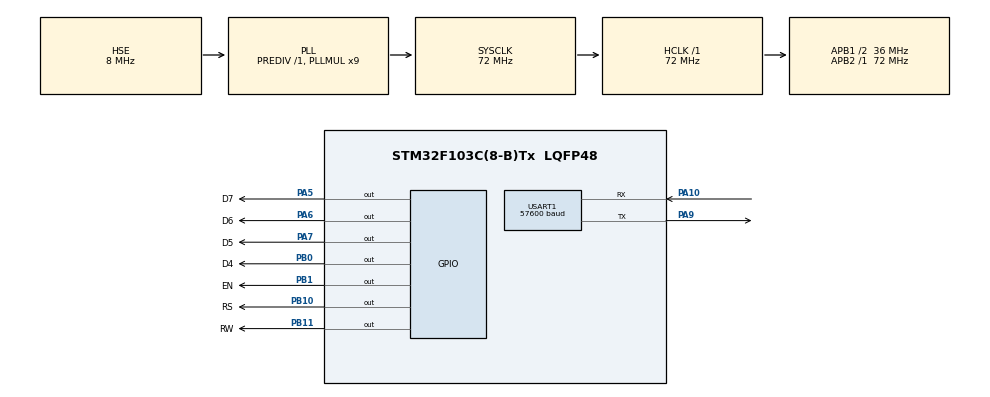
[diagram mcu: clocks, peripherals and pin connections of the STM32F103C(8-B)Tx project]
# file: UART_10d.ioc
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Mcu.Family=STM32F1
Mcu.Name=STM32F103C(8-B)Tx
Mcu.Package=LQFP48
NVIC.PriorityGroup=NVIC_PRIORITYGROUP_4
NVIC.USART1_IRQn=true\:0\:0\:false\:false\:true\:true\:true\:true
PA10.Mode=Asynchronous
PA10.Signal=USART1_RX
PA13.Mode=Serial_Wire
PA13.Signal=SYS_JTMS-SWDIO
PA14.Mode=Serial_Wire
PA14.Signal=SYS_JTCK-SWCLK
PA5.GPIO_Label=D7
PA5.Signal=GPIO_Output
PA6.GPIO_Label=D6
PA6.Signal=GPIO_Output
PA7.GPIO_Label=D5
PA7.Signal=GPIO_Output
PA9.Mode=Asynchronous
PA9.Signal=USART1_TX
PB0.GPIO_Label=D4
PB0.Signal=GPIO_Output
PB1.GPIO_Label=EN
PB1.Signal=GPIO_Output
PB10.GPIO_Label=RS
PB10.Signal=GPIO_Output
PB11.GPIO_Label=RW
PB11.Signal=GPIO_Output
PD0-OSC_IN.Mode=HSE-External-Oscillator
PD0-OSC_IN.Signal=RCC_OSC_IN
PD1-OSC_OUT.Mode=HSE-External-Oscillator
PD1-OSC_OUT.Signal=RCC_OSC_OUT
ProjectManager.HeapSize=0x200
ProjectManager.StackSize=0x400
ProjectManager.TargetToolchain=MDK-ARM V5.32
RCC.AHBFreq_Value=72000000
RCC.APB1CLKDivider=RCC_HCLK_DIV2
RCC.APB1Freq_Value=36000000
RCC.APB1TimFreq_Value=72000000
RCC.APB2Freq_Value=72000000
RCC.APB2TimFreq_Value=72000000
RCC.HCLKFreq_Value=72000000
RCC.PLLMUL=RCC_PLL_MUL9
RCC.PLLSourceVirtual=RCC_PLLSOURCE_HSE
RCC.SYSCLKFreq_VALUE=72000000
RCC.SYSCLKSource=RCC_SYSCLKSOURCE_PLLCLK
RCC.USBFreq_Value=72000000
USART1.BaudRate=57600
USART1.VirtualMode=VM_ASYNC
board=custom

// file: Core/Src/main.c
/* USER CODE BEGIN Header */
/**
  ******************************************************************************
  * @file           : main.c
  * @brief          : Main program body
  ******************************************************************************
  * @attention
  *
  * Copyright (c) 2022 STMicroelectronics.
  * All rights reserved.
  *
  * This software is licensed under terms that can be found in the LICENSE file
  * in the root directory of this software component.
  * If no LICENSE file comes with this software, it is provided AS-IS.
  *
  ******************************************************************************
  */
/* USER CODE END Header */
#include "main.h"

/* USER CODE BEGIN Includes */
#include "string.h"
/* USER CODE END Includes */

 UART_HandleTypeDef huart1;

/* USER CODE BEGIN PV */
uint8_t OK[2] = {"OK"};
uint8_t Er[5] = {"ERROR"};
uint8_t ptu = 0;
uint8_t data_receive[1];
uint8_t data_copy[20];
uint8_t dem = 0;
void lcd_busy(void);
/* USER CODE END PV */

void SystemClock_Config(void);
static void MX_GPIO_Init(void);
static void MX_USART1_UART_Init(void);

/* USER CODE BEGIN 0 */
void write_to_lcd_4bits(uint8_t rs, uint8_t data)
{
	HAL_GPIO_WritePin(RS_GPIO_Port, RS_Pin, rs);
	HAL_GPIO_WritePin(RW_GPIO_Port, RW_Pin, 0);
	HAL_GPIO_WritePin(EN_GPIO_Port, EN_Pin, 1);

	HAL_GPIO_WritePin(D7_GPIO_Port, D7_Pin, ((data>>3)&0x01));
	HAL_GPIO_WritePin(D6_GPIO_Port, D6_Pin, ((data>>2)&0x01));
	HAL_GPIO_WritePin(D5_GPIO_Port, D5_Pin, ((data>>1)&0x01));
	HAL_GPIO_WritePin(D4_GPIO_Port, D4_Pin, ((data>>0)&0x01));

	for(int i = 0; i < 72; i++)
	{
		__asm("NOP");
	}

	HAL_GPIO_WritePin(EN_GPIO_Port, EN_Pin, 0);
	lcd_busy();
}

void send_command(uint8_t data)
{
	write_to_lcd_4bits(0, (data>>4)&0x0f);
	write_to_lcd_4bits (0, (data>>0)&0x0f);
}

void display_lcd(uint8_t data)
{
	write_to_lcd_4bits(1, (data>>4)&0x0f);
	write_to_lcd_4bits (1, (data>>0)&0x0f);
}

void display_text(char *data)
{
	uint8_t j;
	for(j=0; j<strlen(data); j++)
	{
		display_lcd(data[j]);
	}
}

void  lcd_clear()
{
	send_command(0x01);
	lcd_busy();
}

void set_cursor(uint8_t row, uint8_t col)
{
	uint8_t temp;
	switch(row)
	{
		case 0:
			temp = col|0x80;
		  break;
		case 1:
			temp = col|0xC0;
		  break;
		default:
			temp = col|0x80;
	}
	send_command(temp);
}

void lcd_config()
{
	send_command(0x28); //LCD 4bit, 2-line, 5x8 hieu 2
	lcd_busy();
	send_command(0x28); //LCD 4bit, 2-line, 5x8 hieu 8
	lcd_busy();
	send_command(0x0f);
	lcd_busy();
	send_command(0x06);
	lcd_busy();
	send_command(0x01);
	lcd_busy();
}

void lcd_busy(void)
{
	uint8_t busy_flag_copy;
	GPIO_InitTypeDef GPIO_InitStruct = {0};
	GPIO_InitStruct.Pin = GPIO_PIN_5;
  GPIO_InitStruct.Mode = GPIO_MODE_INPUT;
  GPIO_InitStruct.Pull = GPIO_NOPULL;
  HAL_GPIO_Init(GPIOA, &GPIO_InitStruct);

	HAL_GPIO_WritePin(RS_GPIO_Port, RS_Pin, 0);
	HAL_GPIO_WritePin(RW_GPIO_Port, RW_Pin, 1);
	do{
		busy_flag_copy = 0;
		HAL_GPIO_WritePin(EN_GPIO_Port, EN_Pin, 1);
		for(int i = 0; i < 72; i++);

		busy_flag_copy = HAL_GPIO_ReadPin(GPIOA, GPIO_PIN_5);

		HAL_GPIO_WritePin(EN_GPIO_Port, EN_Pin, 0);
		for(int i = 0; i < 72; i++);

		HAL_GPIO_WritePin(EN_GPIO_Port, EN_Pin, 1);
		for(int i = 0; i < 72; i++);

		HAL_GPIO_WritePin(EN_GPIO_Port, EN_Pin, 0);
		for(int i = 0; i < 72; i++);
	}while(busy_flag_copy);
	HAL_GPIO_WritePin(RW_GPIO_Port, RW_Pin, 0);
	GPIO_InitStruct.Pin = GPIO_PIN_5;
  GPIO_InitStruct.Mode = GPIO_MODE_OUTPUT_PP;
  GPIO_InitStruct.Pull = GPIO_NOPULL;
  GPIO_InitStruct.Speed = GPIO_SPEED_FREQ_LOW;
  HAL_GPIO_Init(GPIOA, &GPIO_InitStruct);
}
/* USER CODE END 0 */

int main(void)
{

  /* MCU Configuration--------------------------------------------------------*/

  /* Reset of all peripherals, Initializes the Flash interface and the Systick. */
  HAL_Init();

  /* Configure the system clock */
  SystemClock_Config();

  /* Initialize all configured peripherals */
  MX_GPIO_Init();
  MX_USART1_UART_Init();
  /* USER CODE BEGIN 2 */
	HAL_UART_Receive_IT(&huart1, &data_receive[0], 1);
	lcd_config();
  /* USER CODE END 2 */

  /* Infinite loop */
  while (1)
  {

    /* USER CODE BEGIN 3 */
		if(dem == 1)
		{
				/*if(ptu == (data_copy[1] + 3))
				{
					ptu = 0;
					if(data_copy[0] == '*' && data_copy[data_copy[1] + 2] == '#')
					{
						HAL_UART_Transmit(&huart1, OK, 2, 10);
						set_cursor(0,0);
						for(int i = 2; i < (data_copy[1]+2); i++)
						{
							display_lcd(data_copy[i]);
						}
					}
					else
					{
						HAL_UART_Transmit(&huart1, Er, 5, 10);
						for(int i = 0; i < (data_copy[1] + 3); i++)
						{
							data_copy[i] = data_copy[i]&0x00;
						}
						ptu = 0;
					}

					}
				}
				dem = 0;
				}*/
	  if(data_copy[0]=='*')
	  {
		  if (data_copy[(data_copy[1]+2)]=='#')
		  {
			  if (ptu == (data_copy[1] + 3))
			  {
				  send_command(0x01);
				  HAL_Delay(10);
				  set_cursor (0, 0);
				  for (int i=0; i<data_copy[1]; i++)
				  {
					  display_lcd(data_copy[i+2]);
				  }
				  ptu=0;
				  HAL_UART_Transmit(&huart1, &OK[0], 2, 16);
			  }
			  else
			  {
				  ptu=0;
				  HAL_UART_Transmit(&huart1, &Er[0], 5, 45);
			  }
		  }
		  else
		  {
			  ptu=0;
			  HAL_UART_Transmit(&huart1, &Er[0], 5, 45);
		  }
	  }
	  else
	  {
		  ptu=0;
		  HAL_UART_Transmit(&huart1, &Er[0], 5, 45);
	  }
  }
		dem=0;
	  HAL_Delay(500);
  }
  /* USER CODE END 3 */
}

void SystemClock_Config(void)
{
  RCC_OscInitTypeDef RCC_OscInitStruct = {0};
  RCC_ClkInitTypeDef RCC_ClkInitStruct = {0};

  /** Initializes the RCC Oscillators according to the specified parameters
  * in the RCC_OscInitTypeDef structure.
  */
  RCC_OscInitStruct.OscillatorType = RCC_OSCILLATORTYPE_HSE;
  RCC_OscInitStruct.HSEState = RCC_HSE_ON;
  RCC_OscInitStruct.HSEPredivValue = RCC_HSE_PREDIV_DIV1;
  RCC_OscInitStruct.HSIState = RCC_HSI_ON;
  RCC_OscInitStruct.PLL.PLLState = RCC_PLL_ON;
  RCC_OscInitStruct.PLL.PLLSource = RCC_PLLSOURCE_HSE;
  RCC_OscInitStruct.PLL.PLLMUL = RCC_PLL_MUL9;
  if (HAL_RCC_OscConfig(&RCC_OscInitStruct) != HAL_OK)
  {
    Error_Handler();
  }

  /** Initializes the CPU, AHB and APB buses clocks
  */
  RCC_ClkInitStruct.ClockType = RCC_CLOCKTYPE_HCLK|RCC_CLOCKTYPE_SYSCLK
                              |RCC_CLOCKTYPE_PCLK1|RCC_CLOCKTYPE_PCLK2;
  RCC_ClkInitStruct.SYSCLKSource = RCC_SYSCLKSOURCE_PLLCLK;
  RCC_ClkInitStruct.AHBCLKDivider = RCC_SYSCLK_DIV1;
  RCC_ClkInitStruct.APB1CLKDivider = RCC_HCLK_DIV2;
  RCC_ClkInitStruct.APB2CLKDivider = RCC_HCLK_DIV1;

  if (HAL_RCC_ClockConfig(&RCC_ClkInitStruct, FLASH_LATENCY_2) != HAL_OK)
  {
    Error_Handler();
  }
}

static void MX_USART1_UART_Init(void)
{

  huart1.Instance = USART1;
  huart1.Init.BaudRate = 57600;
  huart1.Init.WordLength = UART_WORDLENGTH_8B;
  huart1.Init.StopBits = UART_STOPBITS_1;
  huart1.Init.Parity = UART_PARITY_NONE;
  huart1.Init.Mode = UART_MODE_TX_RX;
  huart1.Init.HwFlowCtl = UART_HWCONTROL_NONE;
  huart1.Init.OverSampling = UART_OVERSAMPLING_16;
  if (HAL_UART_Init(&huart1) != HAL_OK)
  {
    Error_Handler();
  }

}

static void MX_GPIO_Init(void)
{
  GPIO_InitTypeDef GPIO_InitStruct = {0};

  /* GPIO Ports Clock Enable */
  __HAL_RCC_GPIOD_CLK_ENABLE();
  __HAL_RCC_GPIOA_CLK_ENABLE();
  __HAL_RCC_GPIOB_CLK_ENABLE();

  /*Configure GPIO pin Output Level */
  HAL_GPIO_WritePin(GPIOA, D7_Pin|D6_Pin|D5_Pin, GPIO_PIN_RESET);

  /*Configure GPIO pin Output Level */
  HAL_GPIO_WritePin(GPIOB, D4_Pin|EN_Pin|RS_Pin|RW_Pin, GPIO_PIN_RESET);

  /*Configure GPIO pins : D7_Pin D6_Pin D5_Pin */
  GPIO_InitStruct.Pin = D7_Pin|D6_Pin|D5_Pin;
  GPIO_InitStruct.Mode = GPIO_MODE_OUTPUT_PP;
  GPIO_InitStruct.Pull = GPIO_NOPULL;
  GPIO_InitStruct.Speed = GPIO_SPEED_FREQ_LOW;
  HAL_GPIO_Init(GPIOA, &GPIO_InitStruct);

  /*Configure GPIO pins : D4_Pin EN_Pin RS_Pin RW_Pin */
  GPIO_InitStruct.Pin = D4_Pin|EN_Pin|RS_Pin|RW_Pin;
  GPIO_InitStruct.Mode = GPIO_MODE_OUTPUT_PP;
  GPIO_InitStruct.Pull = GPIO_NOPULL;
  GPIO_InitStruct.Speed = GPIO_SPEED_FREQ_LOW;
  HAL_GPIO_Init(GPIOB, &GPIO_InitStruct);

}

void Error_Handler(void)
{
  __disable_irq();
  while (1)
  {
  }
}
